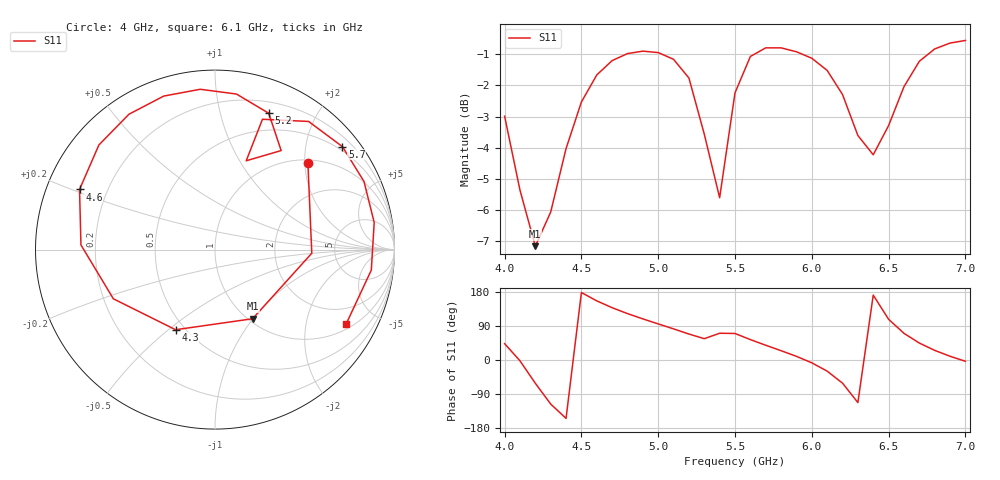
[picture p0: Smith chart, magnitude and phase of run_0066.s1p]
! Touchstone file exported from HFSS 2024.2.0
!  File:  C:/Users/wsak9/Desktop/Sim Fast/Widenad Patch/WP_AI_V1_sweep.aedt
!  Generated:  05:42:19 PM Oct 13, 2026
!  Design:  A1_model
!  Project:  WP_AI_V1_sweep
!  Setup:  Setup1
!  Solution:  Sweep
! Variables:
!  Air_gap = 3.66mm
!  Curve_Amp1 = 3.17
!  Curve_len1 = 1
!  Curve_pos = 11.415mm
!  Extra = 5.89mm
!  H_sub = 0.79mm
!  L_Patch = 18.83mm
!  L_Patch1 = 19.33mm
!  Sx = 0.89mm
!  Sy = 1.57mm
!  WS = 0.23mm
!  W_Patch = 15.24mm
!  W_Patch1 = 13.44mm
!Data is not renormalized
# GHz S MA
! Terminal data exported
! Port[1] = 1
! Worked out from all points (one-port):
!   31 points, 4 GHz to 7 GHz, reference per port
!   lowest |S11| = -7.2 dB at 4.2 GHz (marker M1), VSWR 2.56
!   |S11| at or under -10 dB: nowhere
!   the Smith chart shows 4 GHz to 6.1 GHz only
!   S11 on the Smith chart (normalised r, x): 4 GHz: 1.06, +2.07; 4.3 GHz: 0.45, -0.53; 4.6 GHz: 0.10, +0.21; 5.2 GHz: 0.31, +1.42; 5.7 GHz: 0.40, +2.78; 6.1 GHz: 1.22, -3.41
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4  0.7091 43.1
4.1  0.5397 -2.1
4.2  0.4387 -61.4
4.3  0.4975 -116.2
4.4  0.6291 -154.2
4.5  0.7473 178.0
4.6  0.8258 156.1
4.7  0.8708 138.0
4.8  0.8937 122.5
5  0.897 95.3
5.1  0.8749 82.1
5.2  0.8165 68.5
5.3  0.6636 56.3
5.4  0.5246 70.6
5.5  0.7729 70.0
5.6  0.8842 53.9
5.7  0.9128 38.9
5.9  0.8997 9.7
6  0.8783 -7.5
6.1  0.8399 -29.4
6.2  0.7683 -61.0
6.3  0.6603 -112.4
6.4  0.6149 171.3
6.5  0.6849 107.5
6.6  0.7907 70.4
6.7  0.8685 44.7
6.8  0.9091 25.4
7  0.9381 -3.4
